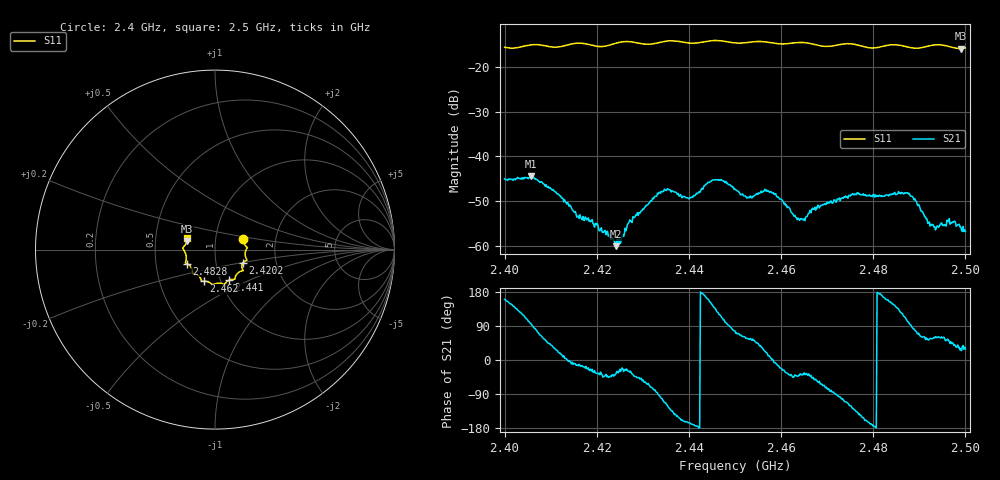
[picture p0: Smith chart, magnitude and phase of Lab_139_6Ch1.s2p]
# Hz S RI R 50
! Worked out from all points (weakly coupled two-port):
!   601 points, 2.4 GHz to 2.5 GHz, reference 50 ohm
!   highest |S21| = -44.49 dB at 2.4057 GHz (marker M1); lowest = -60.2 dB at 2.4242 GHz (marker M2)
!   lowest |S11| = -15.8 dB at 2.499 GHz (marker M3), VSWR 1.39, Z = 36.4 + j3.6 ohm
!   |S11| at or under -10 dB: start of sweep to end of sweep
!   S12 and S22 are empty: the file has one direction only
!   S11 on the Smith chart (normalised r, x): 2.4 GHz: 1.36, +0.17; 2.4202 GHz: 1.35, -0.20; 2.441 GHz: 1.10, -0.39; 2.462 GHz: 0.83, -0.30; 2.4828 GHz: 0.72, -0.12; 2.5 GHz: 0.73, +0.09
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2.4e9  0.1568 0.0609  -0.00527 0.00194  0 0  0 0
2.405667e9  0.1786 0.0132  -0.000677 0.00592  0 0  0 0
2.416667e9  0.1774 -0.0591  0.00195 -0.000522  0 0  0 0
2.420167e9  0.1566 -0.0719  0.00144 -0.000995  0 0  0 0
2.424167e9  0.1526 -0.1084  0.000796 -0.000577  0 0  0 0
2.433333e9  0.1128 -0.152  -7.79e-05 -0.0038  0 0  0 0
2.441e9  0.077 -0.1706  -0.00361 -0.000558  0 0  0 0
2.4455e9  0.0524 -0.1936  -0.00408 0.0036  0 0  0 0
2.45e9  0.0271 -0.1867  0.000992 0.00418  0 0  0 0
2.453e9  -0.000482 -0.1915  0.00198 0.00288  0 0  0 0
2.457333e9  -0.0209 -0.19  0.00397 0.000819  0 0  0 0
2.462e9  -0.0616 -0.1761  0.00191 -0.00164  0 0  0 0
2.464667e9  -0.0745 -0.1753  0.00156 -0.0012  0 0  0 0
2.466667e9  -0.0772 -0.1672  0.00173 -0.00188  0 0  0 0
2.475667e9  -0.1264 -0.1324  -0.00233 -0.00297  0 0  0 0
2.482833e9  -0.1582 -0.0777  -0.00346 0.00131  0 0  0 0
2.483333e9  -0.1609 -0.0762  -0.00328 0.00148  0 0  0 0
2.488e9  -0.1601 -0.0485  -0.000238 0.00361  0 0  0 0
2.493167e9  -0.1785 0.0043  0.000823 0.00139  0 0  0 0
2.4965e9  -0.1701 0.0202  0.00128 0.00154  0 0  0 0
2.499e9  -0.1555 0.0482  0.0014 0.00079  0 0  0 0
2.5e9  -0.1533 0.0621  0.00125 0.000704  0 0  0 0
